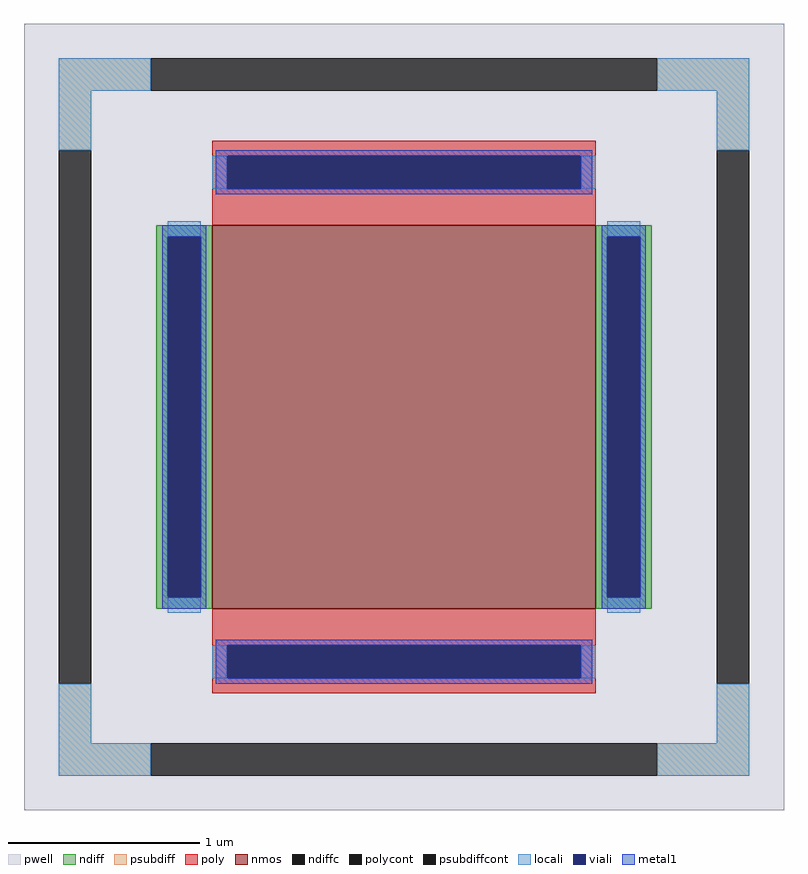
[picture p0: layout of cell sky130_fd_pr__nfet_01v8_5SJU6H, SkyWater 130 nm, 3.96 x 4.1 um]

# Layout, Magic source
magic
tech sky130A
<< pwell >>
rect -198 -205 198 205
<< nmos >>
rect -100 -100 100 100
<< ndiff >>
rect -129 94 -100 100
rect -129 -94 -123 94
rect -106 -94 -100 94
rect -129 -100 -100 -94
rect 100 94 129 100
rect 100 -94 106 94
rect 123 -94 129 94
rect 100 -100 129 -94
<< ndiffc >>
rect -123 -94 -106 94
rect 106 -94 123 94
<< psubdiff >>
rect -180 170 -132 187
rect 132 170 180 187
rect -180 139 -163 170
rect 163 139 180 170
rect -180 -170 -163 -139
rect 163 -170 180 -139
rect -180 -187 -132 -170
rect 132 -187 180 -170
<< psubdiffcont >>
rect -132 170 132 187
rect -180 -139 -163 139
rect 163 -139 180 139
rect -132 -187 132 -170
<< poly >>
rect -100 136 100 144
rect -100 119 -92 136
rect 92 119 100 136
rect -100 100 100 119
rect -100 -119 100 -100
rect -100 -136 -92 -119
rect 92 -136 100 -119
rect -100 -144 100 -136
<< polycont >>
rect -92 119 92 136
rect -92 -136 92 -119
<< locali >>
rect -180 170 -132 187
rect 132 170 180 187
rect -180 139 -163 170
rect 163 139 180 170
rect -100 119 -92 136
rect 92 119 100 136
rect -123 94 -106 102
rect -123 -102 -106 -94
rect 106 94 123 102
rect 106 -102 123 -94
rect -100 -136 -92 -119
rect 92 -136 100 -119
rect -180 -170 -163 -139
rect 163 -170 180 -139
rect -180 -187 -132 -170
rect 132 -187 180 -170
<< viali >>
rect -92 119 92 136
rect -123 -94 -106 94
rect 106 -94 123 94
rect -92 -136 92 -119
<< metal1 >>
rect -98 136 98 139
rect -98 119 -92 136
rect 92 119 98 136
rect -98 116 98 119
rect -126 94 -103 100
rect -126 -94 -123 94
rect -106 -94 -103 94
rect -126 -100 -103 -94
rect 103 94 126 100
rect 103 -94 106 94
rect 123 -94 126 94
rect 103 -100 126 -94
rect -98 -119 98 -116
rect -98 -136 -92 -119
rect 92 -136 98 -119
rect -98 -139 98 -136
<< properties >>
string FIXED_BBOX -171 -178 171 178
string gencell sky130_fd_pr__nfet_01v8
string library sky130
string parameters w 2 l 2 m 1 nf 1 diffcov 100 polycov 100 guard 1 glc 1 grc 1 gtc 1 gbc 1 tbcov 100 rlcov 100 topc 1 botc 1 poverlap 0 doverlap 1 lmin 0.15 wmin 0.42 compatible {sky130_fd_pr__nfet_01v8 sky130_fd_pr__nfet_01v8_lvt  sky130_fd_bs_flash__special_sonosfet_star  sky130_fd_pr__nfet_g5v0d10v5 sky130_fd_pr__nfet_05v0_nvt  sky130_fd_pr__nfet_03v3_nvt} full_metal 1 viasrc 100 viadrn 100 viagate 100 viagb 0 viagr 0 viagl 0 viagt 0
<< end >>
